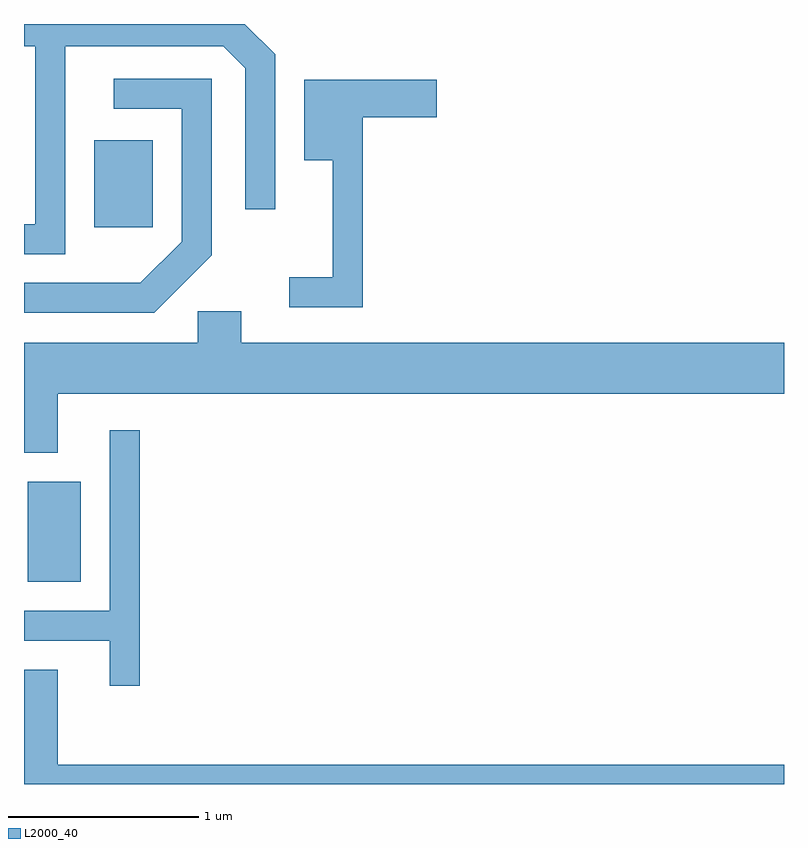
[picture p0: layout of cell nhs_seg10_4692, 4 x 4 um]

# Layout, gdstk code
import gdstk
lib = gdstk.Library(unit=1e-6, precision=1e-09)
def R(c, l, rs):  # rectangles x0, y0, x1, y1
    for r in rs: c.add(gdstk.rectangle(r[:2], r[2:], *l))
def P(c, l, *ps):  # polygons
    for p in ps: c.add(gdstk.Polygon(p, *l))
L2000_40 = (2000, 40)

nhs_seg10_4692 = lib.new_cell('nhs_seg10_4692')
R(nhs_seg10_4692, L2000_40, [(323.631,2119.586,323.909,2120.114), (323.981,2121.451,324.289,2121.909)])
P(nhs_seg10_4692, L2000_40, [(323.829,2122.406),(324.659,2122.406),(324.776,2122.289),(324.776,2121.548),(324.934,2121.548),(324.934,2122.362),(324.774,2122.522),(323.611,2122.522),(323.611,2122.406),(323.671,2122.406),(323.671,2121.469),(323.611,2121.469),(323.611,2121.311),(323.829,2121.311)],
  [(324.599,2121.304),(324.599,2122.234),(324.083,2122.234),(324.083,2122.076),(324.441,2122.076),(324.441,2121.377),(324.224,2121.159),(323.611,2121.159),(323.611,2121.001),(324.297,2121.001)],
  [(325.394,2122.031),(325.784,2122.031),(325.784,2122.229),(325.086,2122.229),(325.086,2121.806),(325.236,2121.806),(325.236,2121.189),(325.008,2121.189),(325.008,2121.031),(325.394,2121.031)],
  [(323.789,2120.576),(327.611,2120.576),(327.611,2120.844),(324.754,2120.844),(324.754,2121.009),(324.526,2121.009),(324.526,2120.844),(323.611,2120.844),(323.611,2120.266),(323.789,2120.266)],
  [(324.219,2120.383),(324.061,2120.383),(324.061,2119.434),(323.611,2119.434),(323.611,2119.276),(324.061,2119.276),(324.061,2119.038),(324.219,2119.038)],
  [(327.611,2118.624),(323.789,2118.624),(323.789,2119.124),(323.611,2119.124),(323.611,2118.522),(327.611,2118.522)])

lib.write_gds('nhs_seg10_4692.gds')
